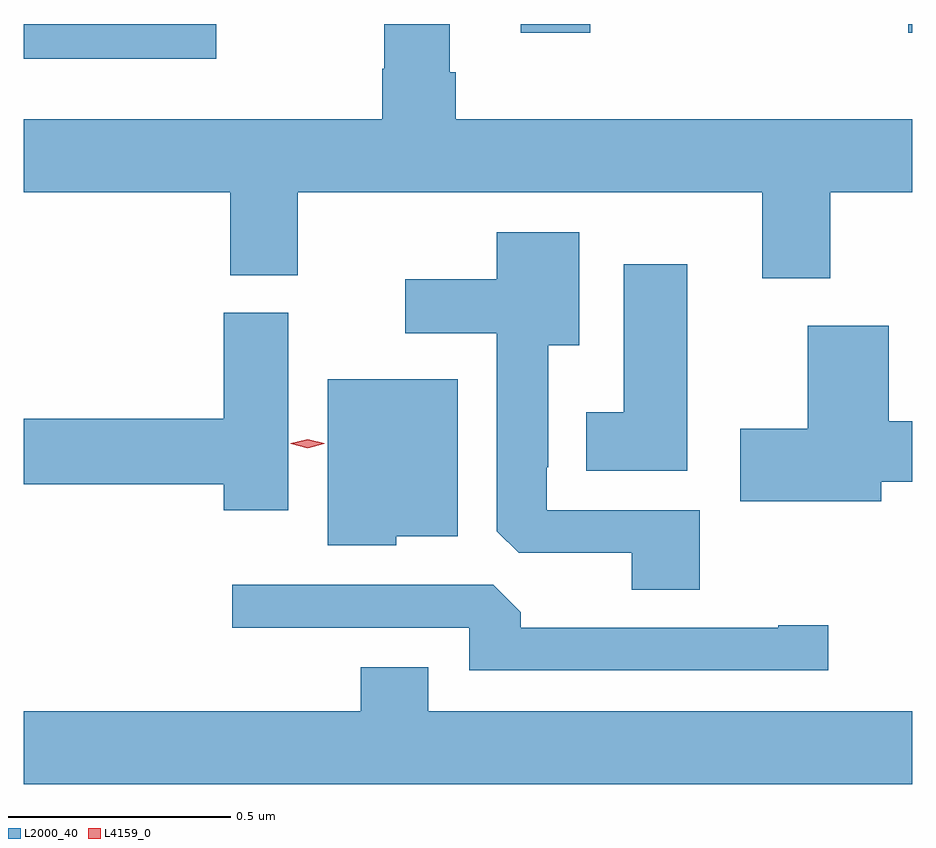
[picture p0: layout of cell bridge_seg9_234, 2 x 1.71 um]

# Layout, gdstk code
import gdstk
lib = gdstk.Library(unit=1e-6, precision=1e-09)
def R(c, l, rs):  # rectangles x0, y0, x1, y1
    for r in rs: c.add(gdstk.rectangle(r[:2], r[2:], *l))
def P(c, l, *ps):  # polygons
    for p in ps: c.add(gdstk.Polygon(p, *l))
L2000_40 = (2000, 40)
L4159_0 = (4159, 0)

bridge_seg9_234 = lib.new_cell('bridge_seg9_234')
R(bridge_seg9_234, L2000_40, [(220.4,1210.04,220.834,1210.118), (221.519,1210.098,221.675,1210.118), (222.391,1210.098,222.4,1210.118)])
P(bridge_seg9_234, L2000_40, [(222.215,1209.74),(222.4,1209.74),(222.4,1209.904),(221.372,1209.904),(221.372,1210.01),(221.359,1210.01),(221.359,1210.118),(221.212,1210.118),(221.212,1210.017),(221.207,1210.017),(221.207,1209.904),(220.4,1209.904),(220.4,1209.74),(220.865,1209.74),(220.865,1209.553),(221.017,1209.553),(221.017,1209.74),(222.062,1209.74),(222.062,1209.546),(222.215,1209.546)],
  [(221.921,1209.024),(221.577,1209.024),(221.577,1209.121),(221.581,1209.121),(221.581,1209.395),(221.65,1209.395),(221.65,1209.649),(221.465,1209.649),(221.465,1209.544),(221.259,1209.544),(221.259,1209.422),(221.465,1209.422),(221.465,1208.977),(221.514,1208.928),(221.768,1208.928),(221.768,1208.845),(221.921,1208.845)],
  [(221.893,1209.577),(221.75,1209.577),(221.75,1209.244),(221.666,1209.244),(221.666,1209.113),(221.893,1209.113)],
  [(220.996,1209.468),(220.85,1209.468),(220.85,1209.23),(220.4,1209.23),(220.4,1209.083),(220.85,1209.083),(220.85,1209.024),(220.996,1209.024)],
  [(222.33,1209.088),(222.4,1209.088),(222.4,1209.224),(222.347,1209.224),(222.347,1209.439),(222.164,1209.439),(222.164,1209.207),(222.012,1209.207),(222.012,1209.044),(222.33,1209.044)],
  [(221.238,1208.966),(221.377,1208.966),(221.377,1209.319),(221.084,1209.319),(221.084,1208.945),(221.238,1208.945)],
  [(222.211,1208.765),(222.098,1208.765),(222.098,1208.76),(221.519,1208.76),(221.519,1208.794),(221.457,1208.856),(220.869,1208.856),(220.869,1208.76),(221.403,1208.76),(221.403,1208.664),(222.211,1208.664)],
  [(222.4,1208.572),(221.311,1208.572),(221.311,1208.671),(221.159,1208.671),(221.159,1208.572),(220.4,1208.572),(220.4,1208.408),(222.4,1208.408)])
P(bridge_seg9_234, L4159_0, [(221.039,1209.164),(221.001,1209.174),(221.001,1209.174),(221.001,1209.175),(221.039,1209.184),(221.077,1209.175),(221.077,1209.174),(221.077,1209.174)])

lib.write_gds('bridge_seg9_234.gds')
